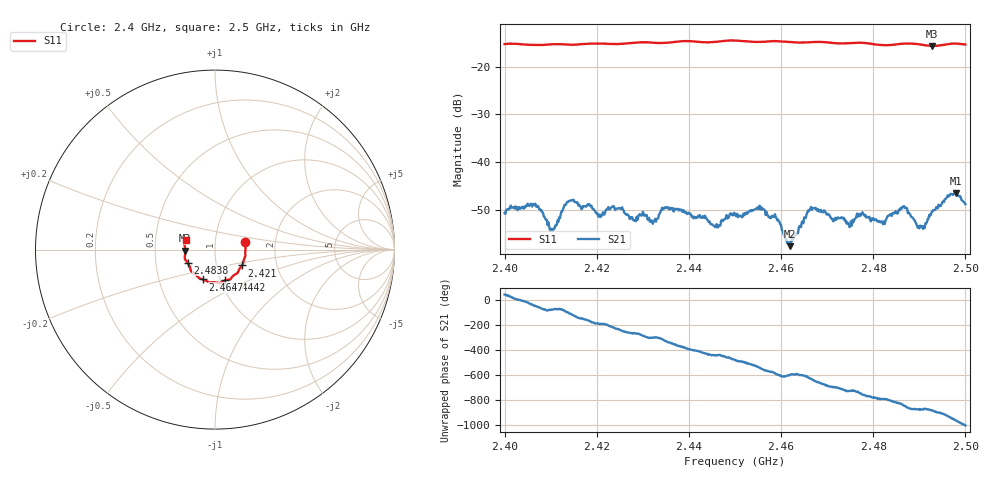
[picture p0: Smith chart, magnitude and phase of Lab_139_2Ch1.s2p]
# Hz S RI R 50
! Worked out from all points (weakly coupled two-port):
!   601 points, 2.4 GHz to 2.5 GHz, reference 50 ohm
!   highest |S21| = -46.57 dB at 2.498 GHz (marker M1); lowest = -57.6 dB at 2.4618 GHz (marker M2)
!   lowest |S11| = -15.6 dB at 2.4928 GHz (marker M3), VSWR 1.40, Z = 35.8 - j0.379 ohm
!   |S11| at or under -10 dB: start of sweep to end of sweep
!   S12 and S22 are empty: the file has one direction only
!   S11 on the Smith chart (normalised r, x): 2.4 GHz: 1.40, +0.12; 2.421 GHz: 1.33, -0.24; 2.4442 GHz: 1.05, -0.37; 2.4647 GHz: 0.83, -0.29; 2.4838 GHz: 0.73, -0.11; 2.5 GHz: 0.72, +0.08
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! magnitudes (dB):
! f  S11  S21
! 2.4 GHz  -15.2  -50.6
! 2.4067 GHz  -15.4  -48.7
! 2.4103 GHz  -15.3  -54.3
! 2.4138 GHz  -15.4  -48.3
! 2.4167 GHz  -15.3  -49.9
! 2.421 GHz  -15.1  -51.1
! 2.4333 GHz  -15.0  -51.8
! 2.4352 GHz  -15.0  -49.4
! 2.4442 GHz  -14.9  -52.3
! 2.45 GHz  -14.5  -51.2
! 2.4558 GHz  -14.8  -49.6
! 2.4618 GHz  -14.8  -57.6
! 2.4647 GHz  -14.9  -52.4
! 2.4667 GHz  -14.8  -50.0
! 2.4748 GHz  -15.0  -53.6
! 2.4833 GHz  -15.5  -51.3
! 2.4838 GHz  -15.4  -51.0
! 2.4868 GHz  -15.1  -49.6
! 2.4905 GHz  -15.4  -53.7
! 2.4928 GHz  -15.6  -50.3
! 2.498 GHz  -15.1  -46.6
! 2.5 GHz  -15.3  -48.8
